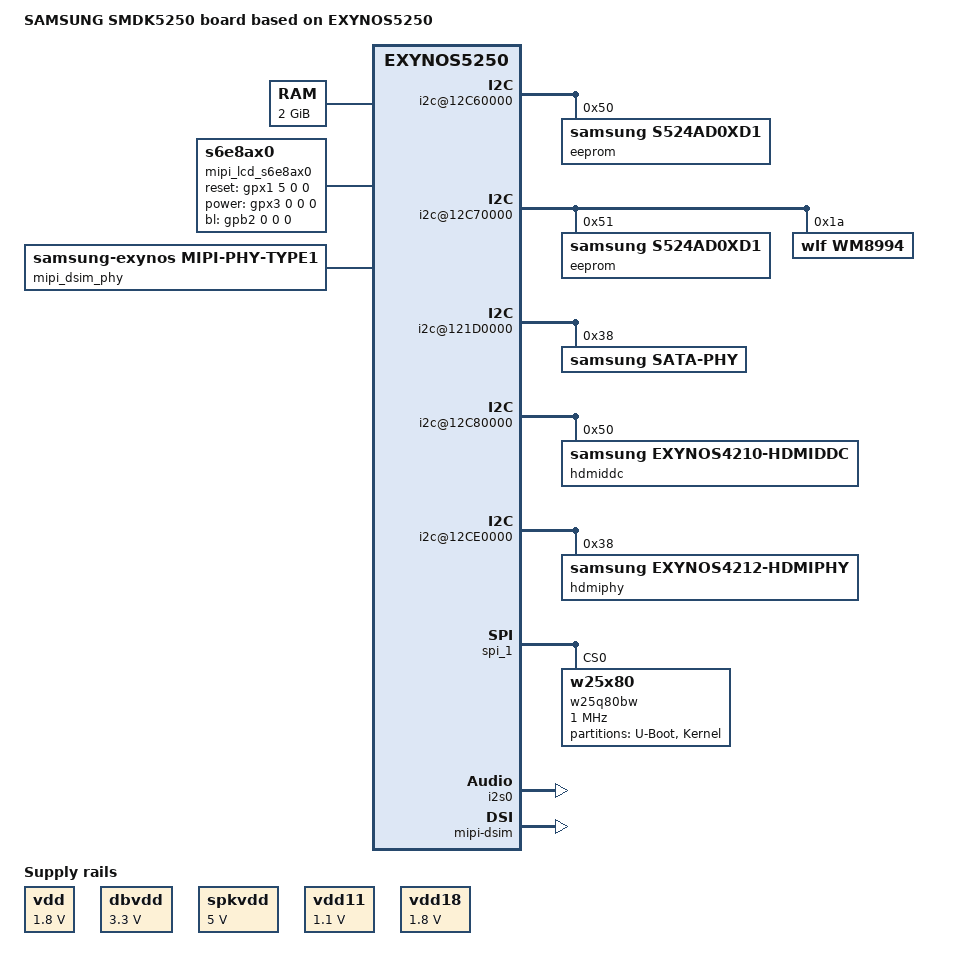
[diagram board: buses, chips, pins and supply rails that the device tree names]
/*
 * SAMSUNG SMDK5250 board device tree source
 *
 * Copyright (c) 2012 Samsung Electronics Co., Ltd.
 *		http://www.samsung.com
 *
 * This program is free software; you can redistribute it and/or modify
 * it under the terms of the GNU General Public License version 2 as
 * published by the Free Software Foundation.
*/

/dts-v1/;
#include "exynos5250.dtsi"

/ {
	model = "SAMSUNG SMDK5250 board based on EXYNOS5250";
	compatible = "samsung,smdk5250", "samsung,exynos5250";

	aliases {
	};

	memory {
		reg = <0x40000000 0x80000000>;
	};

	chosen {
		bootargs = "root=/dev/ram0 rw ramdisk=8192 initrd=0x41000000,8M console=ttySAC2,115200 init=/linuxrc";
	};

	i2c@12C60000 {
		samsung,i2c-sda-delay = <100>;
		samsung,i2c-max-bus-freq = <20000>;

		eeprom@50 {
			compatible = "samsung,s524ad0xd1";
			reg = <0x50>;
		};
	};

	vdd:fixed-regulator@0 {
		compatible = "regulator-fixed";
		regulator-name = "vdd-supply";
		regulator-min-microvolt = <1800000>;
		regulator-max-microvolt = <1800000>;
		regulator-always-on;
	};

	dbvdd:fixed-regulator@1 {
		compatible = "regulator-fixed";
		regulator-name = "dbvdd-supply";
		regulator-min-microvolt = <3300000>;
		regulator-max-microvolt = <3300000>;
		regulator-always-on;
	};

	spkvdd:fixed-regulator@2 {
		compatible = "regulator-fixed";
		regulator-name = "spkvdd-supply";
		regulator-min-microvolt = <5000000>;
		regulator-max-microvolt = <5000000>;
		regulator-always-on;
	};

	vdd11:fixed-regulator@3 {
		compatible = "regulator-fixed";
		regulator-name = "vdd11-supply";
		regulator-min-microvolt = <1100000>;
		regulator-max-microvolt = <1100000>;
		regulator-always-on;
	};

	vdd18:fixed-regulator@4 {
		compatible = "regulator-fixed";
		regulator-name = "vdd18-supply";
		regulator-min-microvolt = <1800000>;
		regulator-max-microvolt = <1800000>;
		regulator-always-on;
	};

	i2c@12C70000 {
		samsung,i2c-sda-delay = <100>;
		samsung,i2c-max-bus-freq = <20000>;

		eeprom@51 {
			compatible = "samsung,s524ad0xd1";
			reg = <0x51>;
		};

		wm8994: wm8994@1a {
			 compatible = "wlf,wm8994";
			 reg = <0x1a>;
		};
	};

	i2c@121D0000 {
		samsung,i2c-sda-delay = <100>;
		samsung,i2c-max-bus-freq = <40000>;
		samsung,i2c-slave-addr = <0x38>;

		sata-phy {
			compatible = "samsung,sata-phy";
			reg = <0x38>;
		};
	};

	sata@122F0000 {
		samsung,sata-freq = <66>;
	};

	i2c@12C80000 {
		samsung,i2c-sda-delay = <100>;
		samsung,i2c-max-bus-freq = <66000>;

		hdmiddc@50 {
			compatible = "samsung,exynos4210-hdmiddc";
			reg = <0x50>;
		};
	};

	i2c@12C90000 {
		status = "disabled";
	};

	i2c@12CA0000 {
		status = "disabled";
	};

	i2c@12CB0000 {
		status = "disabled";
	};

	i2c@12CC0000 {
		status = "disabled";
	};

	i2c@12CD0000 {
		status = "disabled";
	};

	i2c@12CE0000 {
		samsung,i2c-sda-delay = <100>;
		samsung,i2c-max-bus-freq = <66000>;

		hdmiphy@38 {
			compatible = "samsung,exynos4212-hdmiphy";
			reg = <0x38>;
		};
	};

	dwmmc0@12200000 {
		num-slots = <1>;
		supports-highspeed;
		broken-cd;
		fifo-depth = <0x80>;
		card-detect-delay = <200>;
		samsung,dw-mshc-ciu-div = <3>;
		samsung,dw-mshc-sdr-timing = <2 3>;
		samsung,dw-mshc-ddr-timing = <1 2>;
		pinctrl-names = "default";
		pinctrl-0 = <&sd0_clk &sd0_cmd &sd0_bus4 &sd0_bus8>;

		slot@0 {
			reg = <0>;
			bus-width = <8>;
		};
	};

	dwmmc1@12210000 {
		status = "disabled";
	};

	dwmmc2@12220000 {
		num-slots = <1>;
		supports-highspeed;
		fifo-depth = <0x80>;
		card-detect-delay = <200>;
		samsung,dw-mshc-ciu-div = <3>;
		samsung,dw-mshc-sdr-timing = <2 3>;
		samsung,dw-mshc-ddr-timing = <1 2>;
		pinctrl-names = "default";
		pinctrl-0 = <&sd2_clk &sd2_cmd &sd2_cd &sd2_bus4>;

		slot@0 {
			reg = <0>;
			bus-width = <4>;
			disable-wp;
		};
	};

	dwmmc3@12230000 {
		status = "disabled";
	};

	spi_0: spi@12d20000 {
		status = "disabled";
	};

	spi_1: spi@12d30000 {
		w25q80bw@0 {
			#address-cells = <1>;
			#size-cells = <1>;
			compatible = "w25x80";
			reg = <0>;
			spi-max-frequency = <1000000>;

			controller-data {
				cs-gpio = <&gpa2 5 0>;
				samsung,spi-feedback-delay = <0>;
			};

			partition@0 {
				label = "U-Boot";
				reg = <0x0 0x40000>;
				read-only;
			};

			partition@40000 {
				label = "Kernel";
				reg = <0x40000 0xc0000>;
			};
		};
	};

	spi_2: spi@12d40000 {
		status = "disabled";
	};

	hdmi {
		hpd-gpio = <&gpx3 7 0>;
	};

	codec@11000000 {
		samsung,mfc-r = <0x43000000 0x800000>;
		samsung,mfc-l = <0x51000000 0x800000>;
	};

	i2s0: i2s@03830000 {
		status = "okay";
	};

	i2s1: i2s@12D60000 {
		status = "disabled";
	};

	i2s2: i2s@12D70000 {
		status = "disabled";
	};

	sound {
		compatible = "samsung,smdk-wm8994";

		samsung,i2s-controller = <&i2s0>;
		samsung,audio-codec = <&wm8994>;
	};

	usb@12110000 {
		samsung,vbus-gpio = <&gpx2 6 0>;
	};

	dp-controller {
		samsung,color-space = <0>;
		samsung,dynamic-range = <0>;
		samsung,ycbcr-coeff = <0>;
		samsung,color-depth = <1>;
		samsung,link-rate = <0x0a>;
		samsung,lane-count = <4>;

		pinctrl-names = "default";
		pinctrl-0 = <&dp_hpd>;
		lcd_bl_gpio = <&gpb2 0 1>;
		lcd_en_gpio = <&gpx1 5 1>;
	};

	fimd {
		display-timings {
			native-mode = <&timing1>;
			timing0: timing@0 {
				/* 1280x800 */
				clock-frequency = <50000>;
				hactive = <1280>;
				vactive = <800>;
				hfront-porch = <4>;
				hback-porch = <4>;
				hsync-len = <4>;
				vback-porch = <4>;
				vfront-porch = <4>;
				vsync-len = <4>;
			};
			timing1: timing@1 {
				/* 800x1280 */
				clock-frequency = <266000000>;
				hactive = <800>;
				vactive = <1280>;
				hfront-porch = <11>;
				hback-porch = <3>;
				hsync-len = <2>;
				vback-porch = <11>;
				vfront-porch = <3>;
				vsync-len = <2>;
			};
			timing2: timing@2 {
				/* 2560x1600 */
				clock-frequency = <266000000>;
				hactive = <2560>;
				vactive = <1600>;
				hfront-porch = <48>;
				hback-porch = <80>;
				hsync-len = <32>;
				vback-porch = <16>;
				vfront-porch = <8>;
				vsync-len = <6>;
			};
		};
	};

	fixed-rate-clocks {
		xxti {
			compatible = "samsung,clock-xxti";
			clock-frequency = <24000000>;
		};
	};

	lcd_mipi_dsi_s6e8ax0: lcd_panel_s6e8ax0 {
		lcd-htiming = <11 3 2 800>;
		lcd-vtiming = <11 3 2 1280>;
	};

	mipi_lcd_s6e8ax0: mipi-lcd@s6e8ax0 {
		compatible = "s6e8ax0";
		lcd-name = "s6e8ax0";
		lcd_enabled = <1>;
		reset-delay = <50>;
		power-on-delay = <120>;
		power-off-delay = <200>;
		gpio-reset = <&gpx1 5 0 0 0>;
		gpio-power = <&gpx3 0 0 0 0>;
		gpio-bl = <&gpb2 0 0 0 0>;
	};

	mipi_dsim_phy: mipi-phy@exynos5250 {
		compatible = "samsung-exynos,mipi-phy-type1";
		reg_enable_dphy = <0x10040714>;
		mask_enable_dphy = <0x00000001>;
		reg_reset_dsim = <0x10040714>;
		mask_reset_dsim = <0x00000004>;
	};

	mipi-dsim {
		status = "okay";
		mipi-lcd = <&mipi_lcd_s6e8ax0>;
		mipi-phy = <&mipi_dsim_phy>;
		enabled = <0>;
		panel-info = <&lcd_mipi_dsi_s6e8ax0>;

		vdd11-supply = <&vdd11>;
		vdd18-supply = <&vdd18>;
		vdd3-supply = <&vdd18>;
		vci-supply = <&vdd18>;

		mipi-config {
			e_interface = <1>;
			e_pixel_format = <7>;
			auto_flush = <0>;
			eot_disable = <0>;
			auto_vertical_cnt = <0>;
			hse = <0>;
			hfp = <0>;
			hbp = <0>;
			hsa = <0>;
			e_no_data_lane = <3>;
			e_byte_clk = <0>;
			e_burst_mode = <1>;
			p = <3>;
			m = <115>;
			s = <1>;
			pll_stable_time = <500>;
			esc_clk = <7000000>;
			stop_holding_cnt =<0x0fff>;
			bta_timeout = <0xff>;
			rx_timeout = <0xffff>;
			e_virtual_ch = <0>;
			cmd_allow = <0x1>;
		};
	};
};
